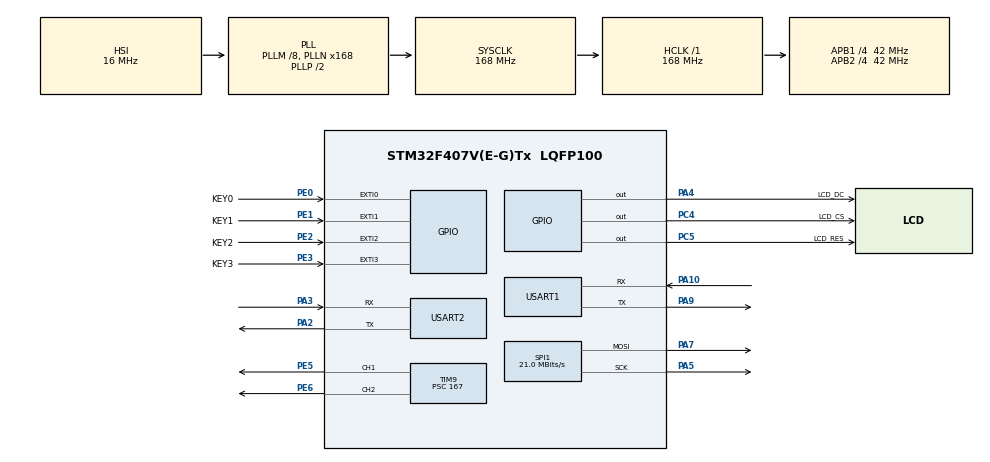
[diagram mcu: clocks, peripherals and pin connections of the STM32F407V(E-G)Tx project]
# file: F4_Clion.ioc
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Dma.Request0=USART2_RX
Dma.Request1=USART1_RX
Dma.USART1_RX.1.Direction=DMA_PERIPH_TO_MEMORY
Dma.USART1_RX.1.FIFOMode=DMA_FIFOMODE_DISABLE
Dma.USART1_RX.1.Instance=DMA2_Stream2
Dma.USART1_RX.1.MemDataAlignment=DMA_MDATAALIGN_BYTE
Dma.USART1_RX.1.MemInc=DMA_MINC_ENABLE
Dma.USART1_RX.1.Mode=DMA_NORMAL
Dma.USART1_RX.1.PeriphDataAlignment=DMA_PDATAALIGN_BYTE
Dma.USART1_RX.1.PeriphInc=DMA_PINC_DISABLE
Dma.USART1_RX.1.Priority=DMA_PRIORITY_LOW
Dma.USART2_RX.0.Direction=DMA_PERIPH_TO_MEMORY
Dma.USART2_RX.0.FIFOMode=DMA_FIFOMODE_DISABLE
Dma.USART2_RX.0.Instance=DMA1_Stream5
Dma.USART2_RX.0.MemDataAlignment=DMA_MDATAALIGN_BYTE
Dma.USART2_RX.0.MemInc=DMA_MINC_ENABLE
Dma.USART2_RX.0.Mode=DMA_NORMAL
Dma.USART2_RX.0.PeriphDataAlignment=DMA_PDATAALIGN_BYTE
Dma.USART2_RX.0.PeriphInc=DMA_PINC_DISABLE
Dma.USART2_RX.0.Priority=DMA_PRIORITY_LOW
Mcu.Family=STM32F4
Mcu.Name=STM32F407V(E-G)Tx
Mcu.Package=LQFP100
NVIC.DMA1_Stream5_IRQn=true\:0\:0\:true\:false\:true\:false\:true\:true
NVIC.DMA2_Stream2_IRQn=true\:0\:0\:false\:false\:true\:false\:true\:true
NVIC.EXTI0_IRQn=true\:0\:0\:false\:false\:true\:true\:true\:true
NVIC.EXTI1_IRQn=true\:0\:0\:false\:false\:true\:true\:true\:true
NVIC.EXTI2_IRQn=true\:0\:0\:false\:false\:true\:true\:true\:true
NVIC.EXTI3_IRQn=true\:0\:0\:true\:false\:true\:true\:true\:true
NVIC.PriorityGroup=NVIC_PRIORITYGROUP_4
NVIC.TIM6_DAC_IRQn=true\:0\:0\:true\:false\:true\:true\:true\:true
NVIC.USART1_IRQn=true\:0\:0\:true\:false\:true\:true\:true\:true
NVIC.USART2_IRQn=true\:0\:0\:true\:false\:true\:true\:true\:true
PA10.Mode=Asynchronous
PA10.Signal=USART1_RX
PA13.Mode=Serial_Wire
PA13.Signal=SYS_JTMS-SWDIO
PA14.Mode=Serial_Wire
PA14.Signal=SYS_JTCK-SWCLK
PA2.Mode=Asynchronous
PA2.Signal=USART2_TX
PA3.Mode=Asynchronous
PA3.Signal=USART2_RX
PA4.GPIO_Label=LCD_DC
PA4.GPIO_PuPd=GPIO_PULLDOWN
PA4.Signal=GPIO_Output
PA5.Mode=TX_Only_Simplex_Unidirect_Master
PA5.Signal=SPI1_SCK
PA7.Mode=TX_Only_Simplex_Unidirect_Master
PA7.Signal=SPI1_MOSI
PA9.Mode=Asynchronous
PA9.Signal=USART1_TX
PC4.GPIO_Label=LCD_CS
PC4.GPIO_PuPd=GPIO_PULLDOWN
PC4.Signal=GPIO_Output
PC5.GPIO_Label=LCD_RES
PC5.GPIO_PuPd=GPIO_PULLDOWN
PC5.Signal=GPIO_Output
PE0.GPIO_Label=KEY0
PE0.GPIO_ModeDefaultEXTI=GPIO_MODE_IT_FALLING
PE0.Signal=GPXTI0
PE1.GPIO_Label=KEY1
PE1.GPIO_ModeDefaultEXTI=GPIO_MODE_IT_FALLING
PE1.Signal=GPXTI1
PE2.GPIO_Label=KEY2
PE2.GPIO_ModeDefaultEXTI=GPIO_MODE_IT_FALLING
PE2.Signal=GPXTI2
PE3.GPIO_Label=KEY3
PE3.GPIO_ModeDefaultEXTI=GPIO_MODE_IT_FALLING
PE3.Signal=GPXTI3
PE5.Signal=S_TIM9_CH1
PE6.Signal=S_TIM9_CH2
PH0-OSC_IN.Mode=HSE-External-Oscillator
PH0-OSC_IN.Signal=RCC_OSC_IN
PH1-OSC_OUT.Mode=HSE-External-Oscillator
PH1-OSC_OUT.Signal=RCC_OSC_OUT
ProjectManager.HeapSize=0x200
ProjectManager.StackSize=0x400
ProjectManager.TargetToolchain=STM32CubeIDE
RCC.48MHZClocksFreq_Value=84000000
RCC.AHBFreq_Value=168000000
RCC.APB1CLKDivider=RCC_HCLK_DIV4
RCC.APB1Freq_Value=42000000
RCC.APB1TimFreq_Value=84000000
RCC.APB2CLKDivider=RCC_HCLK_DIV4
RCC.APB2Freq_Value=42000000
RCC.APB2TimFreq_Value=84000000
RCC.CortexFreq_Value=168000000
RCC.HCLKFreq_Value=168000000
RCC.HSE_VALUE=12000000
RCC.HSI_VALUE=16000000
RCC.LSE_VALUE=32768
RCC.PLLM=8
RCC.PLLN=168
RCC.SYSCLKFreq_VALUE=168000000
RCC.SYSCLKSource=RCC_SYSCLKSOURCE_PLLCLK
RCC.VCOOutputFreq_Value=336000000
SH.S_TIM9_CH1.0=TIM9_CH1,PWM Generation1 CH1
SH.S_TIM9_CH2.0=TIM9_CH2,PWM Generation2 CH2
SPI1.BaudRatePrescaler=SPI_BAUDRATEPRESCALER_2
SPI1.CalculateBaudRate=21.0 MBits/s
SPI1.Direction=SPI_DIRECTION_2LINES
SPI1.Mode=SPI_MODE_MASTER
SPI1.VirtualType=VM_MASTER
TIM6.Period=9999
TIM6.Prescaler=83
TIM9.Channel-PWM\ Generation1\ CH1=TIM_CHANNEL_1
TIM9.Channel-PWM\ Generation2\ CH2=TIM_CHANNEL_2
TIM9.Period=999
TIM9.Prescaler=167
TIM9.Pulse-PWM\ Generation1\ CH1=500
USART1.VirtualMode=VM_ASYNC
USART2.VirtualMode=VM_ASYNC
VP_TIM6_VS_ClockSourceINT.Mode=Enable_Timer
VP_TIM9_VS_ClockSourceINT.Mode=Internal
board=custom

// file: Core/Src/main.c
/* USER CODE BEGIN Header */
/**
  ******************************************************************************
  * @file           : main.c
  * @brief          : Main program body
  ******************************************************************************
  * @attention
  *
  * Copyright (c) 2025 STMicroelectronics.
  * All rights reserved.
  *
  * This software is licensed under terms that can be found in the LICENSE file
  * in the root directory of this software component.
  * If no LICENSE file comes with this software, it is provided AS-IS.
  *
  ******************************************************************************
  */
/* USER CODE END Header */
#include "main.h"
#include "dma.h"
#include "spi.h"
#include "tim.h"
#include "usart.h"
#include "gpio.h"

/* USER CODE BEGIN Includes */
#include "st7735.h"
#include "jy901.h"
#include <string.h>
/* USER CODE END Includes */

/* USER CODE BEGIN PTD */
#define Buffer_len 40
uint8_t IMU_data[33]={0};
uint8_t uart_data[Buffer_len]={0};
uint8_t to_lcd_Buffer[40];

uint8_t IMU_FPS=0;
uint8_t cnt=0;
uint8_t IMU_FPS_sum=0;

extern User_USART JY901_data;
int n0=0,n1=0,n2=0,n3=0;

/* USER CODE END PTD */

void SystemClock_Config(void);

int main(void)
{

  /* MCU Configuration--------------------------------------------------------*/

  /* Reset of all peripherals, Initializes the Flash interface and the Systick. */
  HAL_Init();

  /* Configure the system clock */
  SystemClock_Config();

  /* Initialize all configured peripherals */
  MX_GPIO_Init();
  MX_DMA_Init();
  MX_SPI1_Init();
  MX_USART1_UART_Init();
  MX_TIM6_Init();
  MX_TIM9_Init();
  MX_USART2_UART_Init();
  /* USER CODE BEGIN 2 */
    HAL_NVIC_SetPriority(EXTI0_IRQn, 1, 0);               /* 抢占0，子优先级2 */
    HAL_NVIC_SetPriority(EXTI1_IRQn, 1, 1);
    HAL_NVIC_SetPriority(EXTI2_IRQn, 1, 2);
    HAL_NVIC_SetPriority(EXTI3_IRQn, 1, 3);

    User_USART_Init(&JY901_data);

    HAL_UARTEx_ReceiveToIdle_DMA(&huart1,uart_data,Buffer_len);
    HAL_UARTEx_ReceiveToIdle_DMA(&huart2,IMU_data,33);

    HAL_TIM_Base_Start_IT(&htim6);
    ST7735_Init();

    ST7735_Init();

    HAL_TIM_PWM_Start(&htim9,TIM_CHANNEL_1);
    HAL_TIM_PWM_Start(&htim9,TIM_CHANNEL_2);

    ST7735_DrawString(0,0,"F4 & ROS",ST7735_WHITE,ST7735_BLACK,&Font_11x18);
    ST7735_DrawString(0,58,"N0:",ST7735_WHITE,ST7735_BLACK,&Font_7x10);
    ST7735_DrawString(80,58,"N1:",ST7735_WHITE,ST7735_BLACK,&Font_7x10);
    ST7735_DrawString(0,68,"N2:",ST7735_WHITE,ST7735_BLACK,&Font_7x10);
    ST7735_DrawString(80,68,"N3:",ST7735_WHITE,ST7735_BLACK,&Font_7x10);

    ST7735_DrawString(0,18,"X :",ST7735_WHITE,ST7735_BLACK,&Font_7x10);
    ST7735_DrawString(0,28,"Y :",ST7735_WHITE,ST7735_BLACK,&Font_7x10);
    ST7735_DrawString(0,38,"Z :",ST7735_WHITE,ST7735_BLACK,&Font_7x10);
    ST7735_DrawString(0,48,"IMU_FPS :",ST7735_WHITE,ST7735_BLACK,&Font_7x10);
  /* USER CODE END 2 */

  /* Infinite loop */
  while (1)
  {

    /* USER CODE BEGIN 3 */
      ST7735_DrawInt(40,58,n0,ST7735_WHITE,ST7735_BLACK,&Font_7x10);
      ST7735_DrawInt(120,58,n1,ST7735_WHITE,ST7735_BLACK,&Font_7x10);
      ST7735_DrawInt(40,68,n2,ST7735_WHITE,ST7735_BLACK,&Font_7x10);
      ST7735_DrawInt(120,68,n3,ST7735_WHITE,ST7735_BLACK,&Font_7x10);//外部中断测试

      ST7735_DrawFloat(30,18, JY901_data.angle.angle[0],ST7735_WHITE,ST7735_BLACK,&Font_7x10,1);
      ST7735_DrawFloat(30,28, JY901_data.angle.angle[1],ST7735_WHITE,ST7735_BLACK,&Font_7x10,1);
      ST7735_DrawFloat(30,38, JY901_data.angle.angle[2],ST7735_WHITE,ST7735_BLACK,&Font_7x10,1);
      ST7735_DrawFloat(70,48,IMU_FPS,ST7735_WHITE,ST7735_BLACK,&Font_7x10,1);
  }
  /* USER CODE END 3 */
}

void SystemClock_Config(void)
{
  RCC_OscInitTypeDef RCC_OscInitStruct = {0};
  RCC_ClkInitTypeDef RCC_ClkInitStruct = {0};

  /** Configure the main internal regulator output voltage
  */
  __HAL_RCC_PWR_CLK_ENABLE();
  __HAL_PWR_VOLTAGESCALING_CONFIG(PWR_REGULATOR_VOLTAGE_SCALE1);

  /** Initializes the RCC Oscillators according to the specified parameters
  * in the RCC_OscInitTypeDef structure.
  */
  RCC_OscInitStruct.OscillatorType = RCC_OSCILLATORTYPE_HSI;
  RCC_OscInitStruct.HSIState = RCC_HSI_ON;
  RCC_OscInitStruct.HSICalibrationValue = RCC_HSICALIBRATION_DEFAULT;
  RCC_OscInitStruct.PLL.PLLState = RCC_PLL_ON;
  RCC_OscInitStruct.PLL.PLLSource = RCC_PLLSOURCE_HSI;
  RCC_OscInitStruct.PLL.PLLM = 8;
  RCC_OscInitStruct.PLL.PLLN = 168;
  RCC_OscInitStruct.PLL.PLLP = RCC_PLLP_DIV2;
  RCC_OscInitStruct.PLL.PLLQ = 4;
  if (HAL_RCC_OscConfig(&RCC_OscInitStruct) != HAL_OK)
  {
    Error_Handler();
  }

  /** Initializes the CPU, AHB and APB buses clocks
  */
  RCC_ClkInitStruct.ClockType = RCC_CLOCKTYPE_HCLK|RCC_CLOCKTYPE_SYSCLK
                              |RCC_CLOCKTYPE_PCLK1|RCC_CLOCKTYPE_PCLK2;
  RCC_ClkInitStruct.SYSCLKSource = RCC_SYSCLKSOURCE_PLLCLK;
  RCC_ClkInitStruct.AHBCLKDivider = RCC_SYSCLK_DIV1;
  RCC_ClkInitStruct.APB1CLKDivider = RCC_HCLK_DIV4;
  RCC_ClkInitStruct.APB2CLKDivider = RCC_HCLK_DIV4;

  if (HAL_RCC_ClockConfig(&RCC_ClkInitStruct, FLASH_LATENCY_5) != HAL_OK)
  {
    Error_Handler();
  }
}

/* USER CODE BEGIN 4 */
void HAL_UARTEx_RxEventCallback(UART_HandleTypeDef *huart, uint16_t Size)
{
    uint8_t RXD_Buffer[33];
    if(huart == &huart1)
    {
        uint16_t length = huart1.RxXferSize;
        memcpy(RXD_Buffer,uart_data,length);
        memcpy(to_lcd_Buffer,uart_data,length);
        HAL_UART_Transmit(&huart1,RXD_Buffer,length,0xff);
        HAL_UARTEx_ReceiveToIdle_DMA(&huart1,uart_data,40);
    }
    if(huart == &huart2)
    {
        IMU_FPS_sum++;
        //HAL_UART_Transmit(&huart1, "IMU_data get!!!!!!!\r\n", 22,0xff);
        memcpy(JY901_data.RxBuffer,IMU_data, JY901_data.Rx_len);
        JY901_data.Rx_len = sizeof(IMU_data);
        JY901_Process();
        HAL_UARTEx_ReceiveToIdle_DMA(&huart2,IMU_data,33);
    }
}
void HAL_TIM_PeriodElapsedCallback(TIM_HandleTypeDef *htim)
{
    if (htim == (&htim6))
    {
        HAL_UART_Transmit(&huart1, "TIM6 Binggo \r\n", 16,0xff);
        cnt++;
        if(cnt==10)
        {
            IMU_FPS=IMU_FPS_sum;
            IMU_FPS_sum=0;
            cnt=0;
        }

    }
}
void HAL_GPIO_EXTI_Callback(uint16_t GPIO_Pin)
{
    if(GPIO_Pin==KEY0_Pin)
    {
        n0++;
    }
    if(GPIO_Pin==KEY1_Pin)
    {
        n1++;
    }
    if(GPIO_Pin==KEY2_Pin)
    {
        n2++;
    }
    if(GPIO_Pin==KEY3_Pin)
    {
        n3++;
    }
}
/* USER CODE END 4 */

void Error_Handler(void)
{
  __disable_irq();
  while (1)
  {
  }
}
